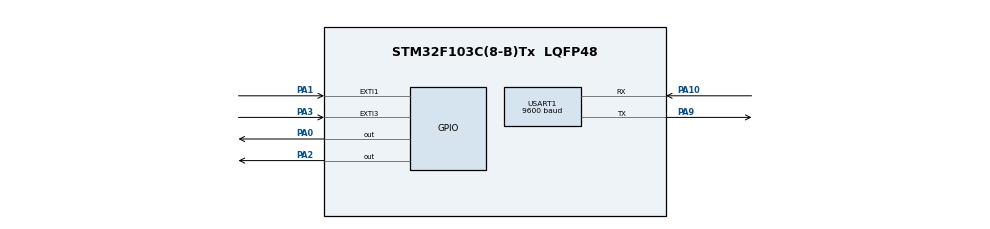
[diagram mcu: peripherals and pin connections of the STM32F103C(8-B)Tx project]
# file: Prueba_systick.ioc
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Mcu.Family=STM32F1
Mcu.Name=STM32F103C(8-B)Tx
Mcu.Package=LQFP48
NVIC.EXTI1_IRQn=true\:0\:0\:false\:false\:true\:true\:true\:true
NVIC.EXTI3_IRQn=true\:0\:0\:false\:false\:true\:true\:true\:true
NVIC.PriorityGroup=NVIC_PRIORITYGROUP_4
NVIC.USART1_IRQn=true\:0\:0\:false\:false\:true\:true\:true\:true
PA0-WKUP.Signal=GPIO_Output
PA1.GPIO_ModeDefaultEXTI=GPIO_MODE_IT_RISING_FALLING
PA1.GPIO_PuPd=GPIO_PULLUP
PA1.Signal=GPXTI1
PA10.Mode=Asynchronous
PA10.Signal=USART1_RX
PA13.Mode=Serial_Wire
PA13.Signal=SYS_JTMS-SWDIO
PA14.Mode=Serial_Wire
PA14.Signal=SYS_JTCK-SWCLK
PA2.Signal=GPIO_Output
PA3.GPIO_ModeDefaultEXTI=GPIO_MODE_IT_RISING_FALLING
PA3.GPIO_PuPd=GPIO_PULLUP
PA3.Signal=GPXTI3
PA9.Mode=Asynchronous
PA9.Signal=USART1_TX
PD0-OSC_IN.Mode=HSE-External-Oscillator
PD0-OSC_IN.Signal=RCC_OSC_IN
PD1-OSC_OUT.Mode=HSE-External-Oscillator
PD1-OSC_OUT.Signal=RCC_OSC_OUT
ProjectManager.HeapSize=0x200
ProjectManager.StackSize=0x400
ProjectManager.TargetToolchain=STM32CubeIDE
RCC.APB1Freq_Value=8000000
RCC.APB2Freq_Value=8000000
USART1.BaudRate=9600
USART1.VirtualMode=VM_ASYNC
board=custom

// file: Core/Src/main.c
/* USER CODE BEGIN Header */
/**
  ******************************************************************************
  * @file           : main.c
  * @brief          : Main program body
  ******************************************************************************
  * @attention
  *
  * Copyright (c) 2024 STMicroelectronics.
  * All rights reserved.
  *
  * This software is licensed under terms that can be found in the LICENSE file
  * in the root directory of this software component.
  * If no LICENSE file comes with this software, it is provided AS-IS.
  *
  ******************************************************************************
  */
/* USER CODE END Header */
#include "main.h"

/* USER CODE BEGIN Includes */
#include "stdbool.h"
/* USER CODE END Includes */

/* USER CODE BEGIN PD */
#define RETARDO_DEBOUNCE 15  //Definición de retardo para debounce de 15 milisegundos.
/* USER CODE END PD */

UART_HandleTypeDef huart1;

/* USER CODE BEGIN PV */
uint32_t Boton_N;        //Variable para determinar el pulsador que causó la interrupción
bool estado_pulsador=1;   //Booleano que establece el estado predeterminado del pulsador
uint32_t contador=0;
//Mensajes a enviar por UART//
uint8_t mensaje1[20]= "Tecla1: presionada\r\n";
uint8_t mensaje2[20]= "Tecla1: soltada\r\n";
uint8_t mensaje3[20]= "Tecla2: presionada\r\n";
uint8_t mensaje4[20]= "Tecla2: soltada\r\n";
/* USER CODE END PV */

void SystemClock_Config(void);
static void MX_GPIO_Init(void);
static void MX_USART1_UART_Init(void);

int main(void)
{

  /* USER CODE BEGIN 1 */
SysTick_Config(SystemCoreClock / 1000); //Función que configura interrupción de SysTick Timer cada milisegundo.
  /* USER CODE END 1 */

  /* MCU Configuration--------------------------------------------------------*/

  /* Reset of all peripherals, Initializes the Flash interface and the Systick. */
  HAL_Init();

  /* Configure the system clock */
  SystemClock_Config();

  /* Initialize all configured peripherals */
  MX_GPIO_Init();
  MX_USART1_UART_Init();

  /* Infinite loop */
  while (1)
  {
	  }

}

void SystemClock_Config(void)
{
  RCC_OscInitTypeDef RCC_OscInitStruct = {0};
  RCC_ClkInitTypeDef RCC_ClkInitStruct = {0};

  /** Initializes the RCC Oscillators according to the specified parameters
  * in the RCC_OscInitTypeDef structure.
  */
  RCC_OscInitStruct.OscillatorType = RCC_OSCILLATORTYPE_HSI;
  RCC_OscInitStruct.HSIState = RCC_HSI_ON;
  RCC_OscInitStruct.HSICalibrationValue = RCC_HSICALIBRATION_DEFAULT;
  RCC_OscInitStruct.PLL.PLLState = RCC_PLL_NONE;
  if (HAL_RCC_OscConfig(&RCC_OscInitStruct) != HAL_OK)
  {
    Error_Handler();
  }

  /** Initializes the CPU, AHB and APB buses clocks
  */
  RCC_ClkInitStruct.ClockType = RCC_CLOCKTYPE_HCLK|RCC_CLOCKTYPE_SYSCLK
                              |RCC_CLOCKTYPE_PCLK1|RCC_CLOCKTYPE_PCLK2;
  RCC_ClkInitStruct.SYSCLKSource = RCC_SYSCLKSOURCE_HSI;
  RCC_ClkInitStruct.AHBCLKDivider = RCC_SYSCLK_DIV1;
  RCC_ClkInitStruct.APB1CLKDivider = RCC_HCLK_DIV1;
  RCC_ClkInitStruct.APB2CLKDivider = RCC_HCLK_DIV1;

  if (HAL_RCC_ClockConfig(&RCC_ClkInitStruct, FLASH_LATENCY_0) != HAL_OK)
  {
    Error_Handler();
  }
}

static void MX_USART1_UART_Init(void)
{

  huart1.Instance = USART1;
  huart1.Init.BaudRate = 9600;
  huart1.Init.WordLength = UART_WORDLENGTH_8B;
  huart1.Init.StopBits = UART_STOPBITS_1;
  huart1.Init.Parity = UART_PARITY_NONE;
  huart1.Init.Mode = UART_MODE_TX_RX;
  huart1.Init.HwFlowCtl = UART_HWCONTROL_NONE;
  huart1.Init.OverSampling = UART_OVERSAMPLING_16;
  if (HAL_UART_Init(&huart1) != HAL_OK)
  {
    Error_Handler();
  }

}

static void MX_GPIO_Init(void)
{
  GPIO_InitTypeDef GPIO_InitStruct = {0};

  /* GPIO Ports Clock Enable */
  __HAL_RCC_GPIOD_CLK_ENABLE();
  __HAL_RCC_GPIOA_CLK_ENABLE();

  /*Configure GPIO pin Output Level */
  HAL_GPIO_WritePin(GPIOA, GPIO_PIN_0|GPIO_PIN_2, GPIO_PIN_RESET);

  /*Configure GPIO pins : PA0 PA2 */
  GPIO_InitStruct.Pin = GPIO_PIN_0|GPIO_PIN_2;
  GPIO_InitStruct.Mode = GPIO_MODE_OUTPUT_PP;
  GPIO_InitStruct.Pull = GPIO_NOPULL;
  GPIO_InitStruct.Speed = GPIO_SPEED_FREQ_LOW;
  HAL_GPIO_Init(GPIOA, &GPIO_InitStruct);

  /*Configure GPIO pins : PA1 PA3 */
  GPIO_InitStruct.Pin = GPIO_PIN_1|GPIO_PIN_3;
  GPIO_InitStruct.Mode = GPIO_MODE_IT_RISING_FALLING;
  GPIO_InitStruct.Pull = GPIO_PULLUP;
  HAL_GPIO_Init(GPIOA, &GPIO_InitStruct);

  /* EXTI interrupt init*/
  HAL_NVIC_SetPriority(EXTI1_IRQn, 0, 0);
  HAL_NVIC_EnableIRQ(EXTI1_IRQn);

  HAL_NVIC_SetPriority(EXTI3_IRQn, 0, 0);
  HAL_NVIC_EnableIRQ(EXTI3_IRQn);

}

/* USER CODE BEGIN 4 */
void HAL_GPIO_EXTI_Callback(uint16_t GPIO_Pin) //Interrupción externa accionada por el pulsador.
{
	Boton_N = GPIO_Pin; //Asignar a la variable el pin que activó la interrupción.
}

void SysTick_Handler(void) //Interrupción disparada cada milisegundo.
{

if(Boton_N == 2){ //En caso de que el pin A1 haya sido el que ocasionó la interrupción.
uint8_t estado_actual = HAL_GPIO_ReadPin(GPIOA, GPIO_PIN_1); //Lectura de estado de entrada

	if(estado_actual != estado_pulsador) //Función de Debounce
	{
		contador = contador+1;
		if(contador >= RETARDO_DEBOUNCE)
		{
			HAL_GPIO_TogglePin(GPIOA, GPIO_PIN_0);

			HAL_UART_Transmit(&huart1, mensaje1, sizeof(mensaje1),100);
			contador= 0;
			estado_pulsador= 1;
			Boton_N=0;
		}

		}
	if (estado_actual == estado_pulsador){ //Función de Debounce
		contador = contador+1;
		if(contador >= RETARDO_DEBOUNCE)
		{
			HAL_UART_Transmit(&huart1, mensaje2, sizeof(mensaje2),100);
			Boton_N=0;
			contador= 0;
		}
		}
	}

if(Boton_N == 8){//En caso de que el pin A3 haya sido el que ocasionó la interrupción.
uint8_t estado_actual = HAL_GPIO_ReadPin(GPIOA, GPIO_PIN_3);

		if(estado_actual != estado_pulsador) //Función de Debounce
		{
			contador = contador+1;
			if(contador == RETARDO_DEBOUNCE)
			{
				HAL_GPIO_TogglePin(GPIOA, GPIO_PIN_2);
				HAL_UART_Transmit(&huart1, mensaje3, sizeof(mensaje3),100);
				contador=0;
				estado_pulsador= 1;
				Boton_N=0;
			}

		}
		if (estado_actual == estado_pulsador){ //Función de Debounce
		contador = contador+1;
		if(contador >= RETARDO_DEBOUNCE)
		{
			HAL_UART_Transmit(&huart1, mensaje4, sizeof(mensaje4),100);
			Boton_N=0;
			contador=0;
		}
}
}
/* USER CODE END 4 */

void Error_Handler(void)
{
  __disable_irq();
  while (1)
  {
  }
}
